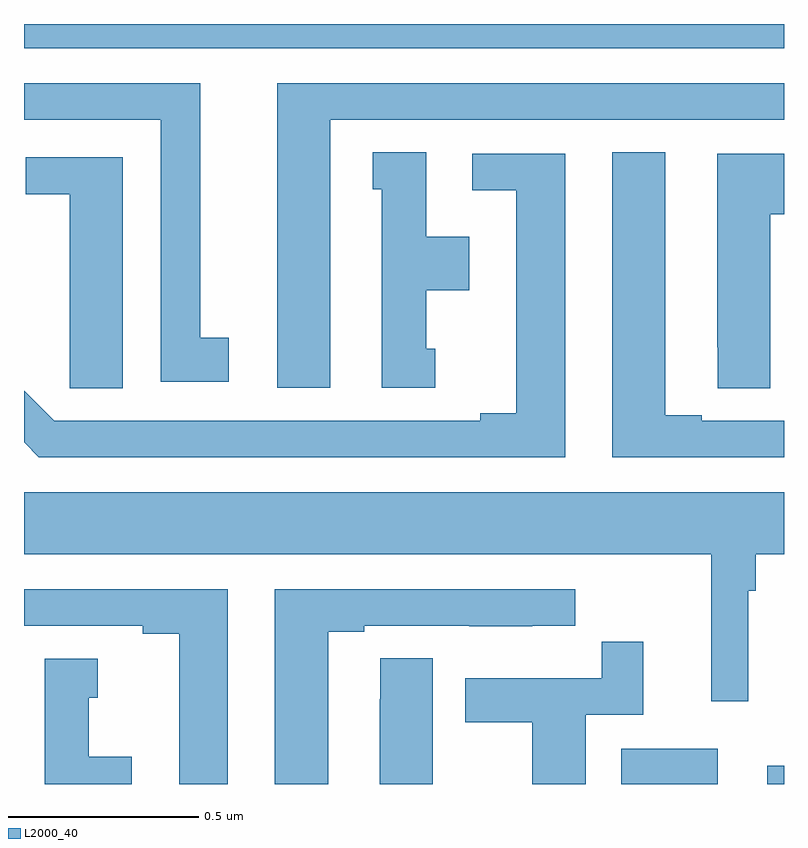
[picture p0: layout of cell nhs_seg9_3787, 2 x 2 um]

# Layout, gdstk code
import gdstk
lib = gdstk.Library(unit=1e-6, precision=1e-09)
def R(c, l, rs):  # rectangles x0, y0, x1, y1
    for r in rs: c.add(gdstk.rectangle(r[:2], r[2:], *l))
def P(c, l, *ps):  # polygons
    for p in ps: c.add(gdstk.Polygon(p, *l))
L2000_40 = (2000, 40)

nhs_seg9_3787 = lib.new_cell('nhs_seg9_3787')
R(nhs_seg9_3787, L2000_40, [(159.572,1178.5,159.826,1178.593), (159.956,1178.5,160,1178.548), (158,1180.436,160,1180.5)])
P(nhs_seg9_3787, L2000_40, [(158.539,1179.674),(158.464,1179.674),(158.464,1180.344),(158,1180.344),(158,1180.248),(158.36,1180.248),(158.36,1179.558),(158.539,1179.558)],
  [(158.806,1180.248),(160,1180.248),(160,1180.344),(158.666,1180.344),(158.666,1179.543),(158.806,1179.543)],
  [(159.082,1179.645),(159.058,1179.645),(159.058,1179.8),(159.172,1179.8),(159.172,1179.94),(159.058,1179.94),(159.058,1180.163),(158.918,1180.163),(158.918,1180.065),(158.942,1180.065),(158.942,1179.543),(159.082,1179.543)],
  [(160,1179.456),(159.784,1179.456),(159.784,1179.471),(159.688,1179.471),(159.688,1180.163),(159.548,1180.163),(159.548,1179.36),(160,1179.36)],
  [(159.964,1180),(160,1180),(160,1180.159),(159.824,1180.159),(159.824,1179.649),(159.825,1179.649),(159.825,1179.541),(159.964,1179.541)],
  [(159.424,1180.158),(159.18,1180.158),(159.18,1180.062),(159.296,1180.062),(159.296,1179.476),(159.2,1179.476),(159.2,1179.456),(158.079,1179.456),(158,1179.535),(158,1179.399),(158.039,1179.36),(159.424,1179.36)],
  [(158.26,1180.149),(158.004,1180.149),(158.004,1180.052),(158.12,1180.052),(158.12,1179.649),(158.121,1179.649),(158.121,1179.541),(158.26,1179.541)],
  [(159.906,1179.008),(159.926,1179.008),(159.926,1179.104),(160,1179.104),(160,1179.268),(158,1179.268),(158,1179.104),(159.809,1179.104),(159.809,1178.718),(159.906,1178.718)],
  [(158.8,1178.901),(158.896,1178.901),(158.896,1178.916),(159.172,1178.916),(159.172,1178.915),(159.338,1178.915),(159.338,1178.916),(159.451,1178.916),(159.451,1179.012),(158.66,1179.012),(158.66,1178.5),(158.8,1178.5)],
  [(158.536,1179.012),(158,1179.012),(158,1178.916),(158.312,1178.916),(158.312,1178.896),(158.408,1178.896),(158.408,1178.5),(158.536,1178.5)],
  [(159.478,1178.682),(159.629,1178.682),(159.629,1178.875),(159.52,1178.875),(159.52,1178.778),(159.161,1178.778),(159.161,1178.662),(159.338,1178.662),(159.338,1178.5),(159.478,1178.5)],
  [(159.076,1178.831),(158.937,1178.831),(158.937,1178.723),(158.936,1178.723),(158.936,1178.5),(159.076,1178.5)],
  [(158.284,1178.572),(158.17,1178.572),(158.17,1178.727),(158.194,1178.727),(158.194,1178.83),(158.054,1178.83),(158.054,1178.5),(158.284,1178.5)])

lib.write_gds('nhs_seg9_3787.gds')
